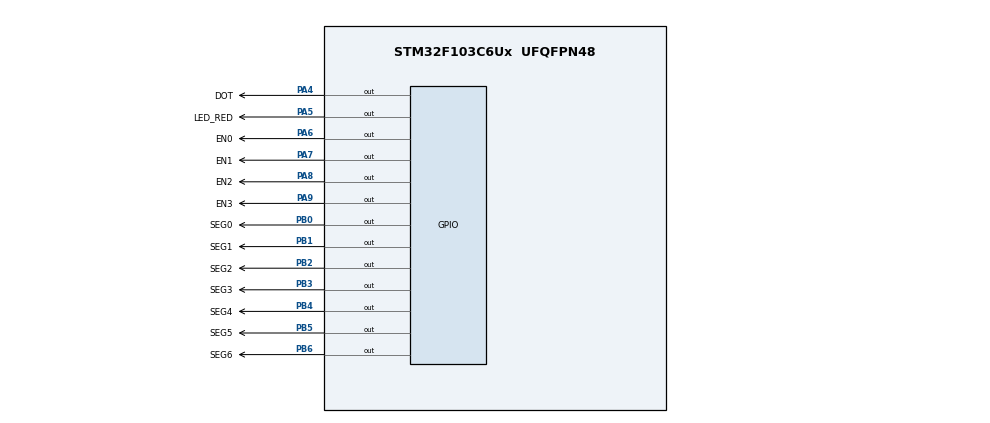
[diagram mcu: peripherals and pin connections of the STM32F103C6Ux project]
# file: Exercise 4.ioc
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Mcu.Family=STM32F1
Mcu.Name=STM32F103C6Ux
Mcu.Package=UFQFPN48
NVIC.PriorityGroup=NVIC_PRIORITYGROUP_4
NVIC.TIM2_IRQn=true\:0\:0\:false\:false\:true\:true\:true
PA4.GPIO_Label=DOT
PA4.Signal=GPIO_Output
PA5.GPIO_Label=LED_RED
PA5.Signal=GPIO_Output
PA6.GPIO_Label=EN0
PA6.Signal=GPIO_Output
PA7.GPIO_Label=EN1
PA7.Signal=GPIO_Output
PA8.GPIO_Label=EN2
PA8.Signal=GPIO_Output
PA9.GPIO_Label=EN3
PA9.Signal=GPIO_Output
PB0.GPIO_Label=SEG0
PB0.Signal=GPIO_Output
PB1.GPIO_Label=SEG1
PB1.Signal=GPIO_Output
PB2.GPIO_Label=SEG2
PB2.Signal=GPIO_Output
PB3.GPIO_Label=SEG3
PB3.Signal=GPIO_Output
PB4.GPIO_Label=SEG4
PB4.Signal=GPIO_Output
PB5.GPIO_Label=SEG5
PB5.Signal=GPIO_Output
PB6.GPIO_Label=SEG6
PB6.Signal=GPIO_Output
ProjectManager.HeapSize=0x200
ProjectManager.StackSize=0x400
ProjectManager.TargetToolchain=STM32CubeIDE
RCC.APB1Freq_Value=8000000
RCC.APB2Freq_Value=8000000
TIM2.Period=9
TIM2.Prescaler=7999
VP_SYS_VS_ND.Mode=No_Debug
VP_TIM2_VS_ClockSourceINT.Mode=Internal
board=custom

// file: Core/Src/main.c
/* USER CODE BEGIN Header */
/**
  ******************************************************************************
  * @file           : main.c
  * @brief          : Main program body
  ******************************************************************************
  * @attention
  *
  * <h2><center>&copy; Copyright (c) 2022 STMicroelectronics.
  * All rights reserved.</center></h2>
  *
  * This software component is licensed by ST under BSD 3-Clause license,
  * the "License"; You may not use this file except in compliance with the
  * License. You may obtain a copy of the License at:
  *                        opensource.org/licenses/BSD-3-Clause
  *
  ******************************************************************************
  */
/* USER CODE END Header */
#include "main.h"

TIM_HandleTypeDef htim2;

void SystemClock_Config(void);
static void MX_GPIO_Init(void);
static void MX_TIM2_Init(void);

/* USER CODE BEGIN 0 */
void display7SEG(int num)
{
	if (num == 0)
	{
		HAL_GPIO_WritePin (GPIOB, SEG0_Pin|SEG1_Pin|SEG2_Pin|SEG3_Pin|SEG4_Pin|SEG5_Pin, GPIO_PIN_RESET);
		HAL_GPIO_WritePin (GPIOB, SEG6_Pin, GPIO_PIN_SET);
	}
	else if (num == 1)
	{
		HAL_GPIO_WritePin (GPIOB, SEG1_Pin|SEG2_Pin, GPIO_PIN_RESET);
		HAL_GPIO_WritePin (GPIOB, SEG0_Pin|SEG3_Pin|SEG4_Pin|SEG5_Pin|SEG6_Pin, GPIO_PIN_SET);
	}
	else if (num == 2)
	{
		HAL_GPIO_WritePin (GPIOB, SEG0_Pin|SEG1_Pin|SEG3_Pin|SEG4_Pin|SEG6_Pin, GPIO_PIN_RESET);
		HAL_GPIO_WritePin (GPIOB, SEG2_Pin|SEG5_Pin, GPIO_PIN_SET);
	}
	else if (num == 3)
	{
		HAL_GPIO_WritePin (GPIOB, SEG0_Pin|SEG1_Pin|SEG2_Pin|SEG3_Pin|SEG6_Pin, GPIO_PIN_RESET);
		HAL_GPIO_WritePin (GPIOB, SEG4_Pin|SEG5_Pin, GPIO_PIN_SET);
	}
	else if (num == 4)
	{
		HAL_GPIO_WritePin (GPIOB, SEG1_Pin|SEG2_Pin|SEG5_Pin|SEG6_Pin, GPIO_PIN_RESET);
		HAL_GPIO_WritePin (GPIOB, SEG0_Pin|SEG3_Pin|SEG4_Pin, GPIO_PIN_SET);
	}
	else if (num == 5)
	{
		HAL_GPIO_WritePin (GPIOB, SEG0_Pin|SEG2_Pin|SEG3_Pin|SEG5_Pin|SEG6_Pin, GPIO_PIN_RESET);
		HAL_GPIO_WritePin (GPIOB, SEG1_Pin|SEG4_Pin, GPIO_PIN_SET);
	}
	else if (num == 6)
	{
		HAL_GPIO_WritePin (GPIOB, SEG0_Pin|SEG2_Pin|SEG3_Pin|SEG4_Pin|SEG5_Pin|SEG6_Pin, GPIO_PIN_RESET);
		HAL_GPIO_WritePin (GPIOB, SEG1_Pin, GPIO_PIN_SET);
	}
	else if (num == 7)
	{
		HAL_GPIO_WritePin (GPIOB, SEG0_Pin|SEG1_Pin|SEG2_Pin, GPIO_PIN_RESET);
		HAL_GPIO_WritePin (GPIOB, SEG3_Pin|SEG4_Pin|SEG5_Pin|SEG6_Pin, GPIO_PIN_SET);
	}
	else if (num == 8)
	{
		HAL_GPIO_WritePin (GPIOB, SEG0_Pin|SEG1_Pin|SEG2_Pin|SEG3_Pin|SEG4_Pin|SEG5_Pin|SEG6_Pin, GPIO_PIN_RESET);
	}
	else
	{
		HAL_GPIO_WritePin (GPIOB, SEG0_Pin|SEG1_Pin|SEG2_Pin|SEG3_Pin|SEG5_Pin|SEG6_Pin, GPIO_PIN_RESET);
		HAL_GPIO_WritePin (GPIOB, SEG4_Pin, GPIO_PIN_SET);
	}
}
/* USER CODE END 0 */

int main(void)
{

  /* MCU Configuration--------------------------------------------------------*/

  /* Reset of all peripherals, Initializes the Flash interface and the Systick. */
  HAL_Init();

  /* Configure the system clock */
  SystemClock_Config();

  /* Initialize all configured peripherals */
  MX_GPIO_Init();
  MX_TIM2_Init();
  /* USER CODE BEGIN 2 */
  HAL_TIM_Base_Start_IT(&htim2);
  /* USER CODE END 2 */

  /* Infinite loop */
  while (1)
  {

  }
}

void SystemClock_Config(void)
{
  RCC_OscInitTypeDef RCC_OscInitStruct = {0};
  RCC_ClkInitTypeDef RCC_ClkInitStruct = {0};

  /** Initializes the RCC Oscillators according to the specified parameters
  * in the RCC_OscInitTypeDef structure.
  */
  RCC_OscInitStruct.OscillatorType = RCC_OSCILLATORTYPE_HSI;
  RCC_OscInitStruct.HSIState = RCC_HSI_ON;
  RCC_OscInitStruct.HSICalibrationValue = RCC_HSICALIBRATION_DEFAULT;
  RCC_OscInitStruct.PLL.PLLState = RCC_PLL_NONE;
  if (HAL_RCC_OscConfig(&RCC_OscInitStruct) != HAL_OK)
  {
    Error_Handler();
  }
  /** Initializes the CPU, AHB and APB buses clocks
  */
  RCC_ClkInitStruct.ClockType = RCC_CLOCKTYPE_HCLK|RCC_CLOCKTYPE_SYSCLK
                              |RCC_CLOCKTYPE_PCLK1|RCC_CLOCKTYPE_PCLK2;
  RCC_ClkInitStruct.SYSCLKSource = RCC_SYSCLKSOURCE_HSI;
  RCC_ClkInitStruct.AHBCLKDivider = RCC_SYSCLK_DIV1;
  RCC_ClkInitStruct.APB1CLKDivider = RCC_HCLK_DIV1;
  RCC_ClkInitStruct.APB2CLKDivider = RCC_HCLK_DIV1;

  if (HAL_RCC_ClockConfig(&RCC_ClkInitStruct, FLASH_LATENCY_0) != HAL_OK)
  {
    Error_Handler();
  }
}

static void MX_TIM2_Init(void)
{

  TIM_ClockConfigTypeDef sClockSourceConfig = {0};
  TIM_MasterConfigTypeDef sMasterConfig = {0};

  htim2.Instance = TIM2;
  htim2.Init.Prescaler = 7999;
  htim2.Init.CounterMode = TIM_COUNTERMODE_UP;
  htim2.Init.Period = 9;
  htim2.Init.ClockDivision = TIM_CLOCKDIVISION_DIV1;
  htim2.Init.AutoReloadPreload = TIM_AUTORELOAD_PRELOAD_DISABLE;
  if (HAL_TIM_Base_Init(&htim2) != HAL_OK)
  {
    Error_Handler();
  }
  sClockSourceConfig.ClockSource = TIM_CLOCKSOURCE_INTERNAL;
  if (HAL_TIM_ConfigClockSource(&htim2, &sClockSourceConfig) != HAL_OK)
  {
    Error_Handler();
  }
  sMasterConfig.MasterOutputTrigger = TIM_TRGO_RESET;
  sMasterConfig.MasterSlaveMode = TIM_MASTERSLAVEMODE_DISABLE;
  if (HAL_TIMEx_MasterConfigSynchronization(&htim2, &sMasterConfig) != HAL_OK)
  {
    Error_Handler();
  }

}

static void MX_GPIO_Init(void)
{
  GPIO_InitTypeDef GPIO_InitStruct = {0};

  /* GPIO Ports Clock Enable */
  __HAL_RCC_GPIOA_CLK_ENABLE();
  __HAL_RCC_GPIOB_CLK_ENABLE();

  /*Configure GPIO pin Output Level */
  HAL_GPIO_WritePin(GPIOA, DOT_Pin|LED_RED_Pin|EN0_Pin|EN1_Pin
                          |EN2_Pin|EN3_Pin, GPIO_PIN_RESET);

  /*Configure GPIO pin Output Level */
  HAL_GPIO_WritePin(GPIOB, SEG0_Pin|SEG1_Pin|SEG2_Pin|SEG3_Pin
                          |SEG4_Pin|SEG5_Pin|SEG6_Pin, GPIO_PIN_RESET);

  /*Configure GPIO pins : DOT_Pin LED_RED_Pin EN0_Pin EN1_Pin
                           EN2_Pin EN3_Pin */
  GPIO_InitStruct.Pin = DOT_Pin|LED_RED_Pin|EN0_Pin|EN1_Pin
                          |EN2_Pin|EN3_Pin;
  GPIO_InitStruct.Mode = GPIO_MODE_OUTPUT_PP;
  GPIO_InitStruct.Pull = GPIO_NOPULL;
  GPIO_InitStruct.Speed = GPIO_SPEED_FREQ_LOW;
  HAL_GPIO_Init(GPIOA, &GPIO_InitStruct);

  /*Configure GPIO pins : SEG0_Pin SEG1_Pin SEG2_Pin SEG3_Pin
                           SEG4_Pin SEG5_Pin SEG6_Pin */
  GPIO_InitStruct.Pin = SEG0_Pin|SEG1_Pin|SEG2_Pin|SEG3_Pin
                          |SEG4_Pin|SEG5_Pin|SEG6_Pin;
  GPIO_InitStruct.Mode = GPIO_MODE_OUTPUT_PP;
  GPIO_InitStruct.Pull = GPIO_NOPULL;
  GPIO_InitStruct.Speed = GPIO_SPEED_FREQ_LOW;
  HAL_GPIO_Init(GPIOB, &GPIO_InitStruct);

}

/* USER CODE BEGIN 4 */
const int MAX_LED = 4;
int index_led = 0;
int led_buffer[4] = {1, 2, 3, 4};

void update7SEG(int index){
	switch (index){
	case 0:
		//Display the first 7SEG with led_buffer[0]
		display7SEG(led_buffer[index]);
		HAL_GPIO_WritePin(EN0_GPIO_Port, EN0_Pin, RESET);
		HAL_GPIO_WritePin(EN1_GPIO_Port, EN1_Pin, SET);
		HAL_GPIO_WritePin(EN1_GPIO_Port, EN2_Pin, SET);
		HAL_GPIO_WritePin(EN1_GPIO_Port, EN3_Pin, SET);
		index_led = 1;
		break;

	case 1:
		//Display the first 7SEG with led_buffer[1]
		display7SEG(led_buffer[index]);
		HAL_GPIO_WritePin(EN0_GPIO_Port, EN0_Pin, SET);
		HAL_GPIO_WritePin(EN1_GPIO_Port, EN1_Pin, RESET);
		HAL_GPIO_WritePin(EN1_GPIO_Port, EN2_Pin, SET);
		HAL_GPIO_WritePin(EN1_GPIO_Port, EN3_Pin, SET);
		index_led = 2;
		break;

	case 2:
		//Display the first 7SEG with led_buffer[2]
		display7SEG(led_buffer[index]);
		HAL_GPIO_WritePin(EN0_GPIO_Port, EN0_Pin, SET);
		HAL_GPIO_WritePin(EN1_GPIO_Port, EN1_Pin, SET);
		HAL_GPIO_WritePin(EN1_GPIO_Port, EN2_Pin, RESET);
		HAL_GPIO_WritePin(EN1_GPIO_Port, EN3_Pin, SET);
		index_led = 3;
		break;

	case 3:
		//Display the first 7SEG with led_buffer[3]
		display7SEG(led_buffer[index]);
		HAL_GPIO_WritePin(EN0_GPIO_Port, EN0_Pin, SET);
		HAL_GPIO_WritePin(EN1_GPIO_Port, EN1_Pin, SET);
		HAL_GPIO_WritePin(EN1_GPIO_Port, EN2_Pin, SET);
		HAL_GPIO_WritePin(EN1_GPIO_Port, EN3_Pin, RESET);
		index_led = 0;
		break;

	default:
		break;
	}
}

int counterFor2LedRed = 100; //The switching time between 2 LED RED is a second

int counter = 25; //The period of invoking update7SEG function is 0,25s
				  //in order to set the frequency of 4 seven segment LEDs
				  // to 1Hz.
void HAL_TIM_PeriodElapsedCallback(TIM_HandleTypeDef *htim){
	if (counterFor2LedRed > 0){
			counterFor2LedRed --;
			if(counterFor2LedRed <= 0){
				counterFor2LedRed = 100;

				HAL_GPIO_TogglePin(DOT_GPIO_Port, DOT_Pin);
			}
		}

	if (counter > 0){
		counter--;
		if(counter <= 0)
		{
			counter = 25;
			update7SEG(index_led);
		}
	}
}
/* USER CODE END 4 */

void Error_Handler(void)
{
  __disable_irq();
  while (1)
  {
  }
}

/************************ (C) COPYRIGHT STMicroelectronics *****END OF FILE****/
